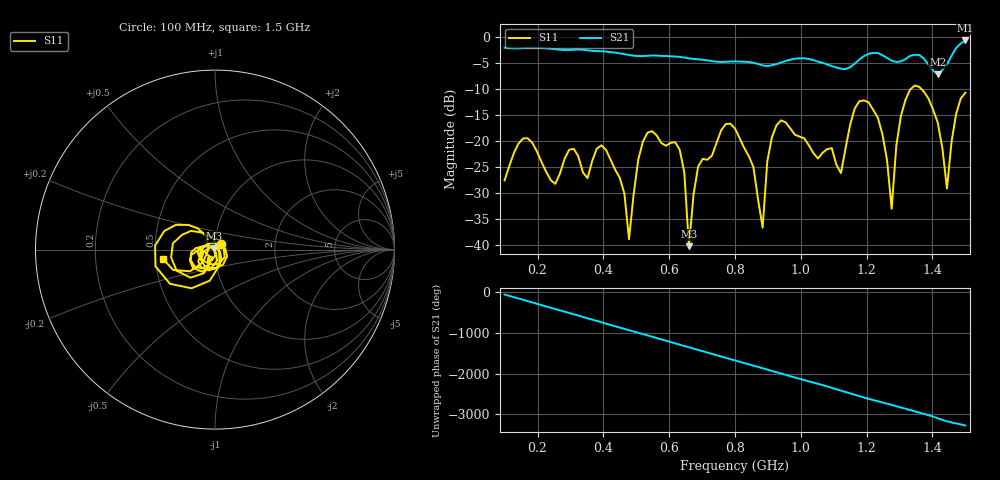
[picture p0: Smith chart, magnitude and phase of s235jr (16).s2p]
! NanoVNA-App
! Date: 2025-09-25 15:04:17
! Start: 100MHz Stop: 1,5GHz Points: 101
! S-Parameter data: F S11 S21 S12 S22
# Hz S RI R 50
!  Frequency  S11_Real  S11_Imag  S21_Real  S21_Imag  S12_Real  S12_Imag  S22_Real  S22_Imag
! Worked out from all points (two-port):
!   101 points, 100 MHz to 1.5 GHz, reference 50 ohm
!   highest |S21| = -0.57 dB at 1.5 GHz (marker M1); lowest = -7.1 dB at 1.416 GHz (marker M2)
!   |S21| within 3 dB of the highest: start of sweep to 504.2 MHz; 521.1 MHz to 591.7 MHz (70.64 MHz wide, 12.7 % of centre) (the widest 2 of 5)
!   lowest |S11| = -40.2 dB at 660 MHz (marker M3), VSWR 1.02, Z = 49.3 + j0.659 ohm
!   |S11| at or under -10 dB: start of sweep to 1.333 GHz; 1.367 GHz to end of sweep
!   S12 and S22 are empty: the file has one direction only
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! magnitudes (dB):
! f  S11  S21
! 100 MHz  -27.5  -2.0
! 156 MHz  -19.4  -2.0
! 338 MHz  -26.0  -2.4
! 408 MHz  -21.6  -2.7
! 478 MHz  -38.8  -3.4
! 520 MHz  -20.1  -3.6
! 576 MHz  -20.3  -3.5
! 632 MHz  -21.6  -3.7
! 660 MHz  -40.2  -4.0
! 688 MHz  -24.8  -4.2
! 800 MHz  -17.5  -4.6
! 884 MHz  -36.6  -5.4
! 926 MHz  -16.9  -5.1
! 1.038 GHz  -22.2  -4.3
! 1.122 GHz  -26.1  -6.0
! 1.206 GHz  -12.5  -3.1
! 1.276 GHz  -33.0  -4.5
! 1.304 GHz  -15.1  -4.6
! 1.332 GHz  -10.0  -3.5
! 1.416 GHz  -16.4  -7.1
! 1.444 GHz  -29.1  -5.2
! 1.5 GHz  -10.6  -0.6
